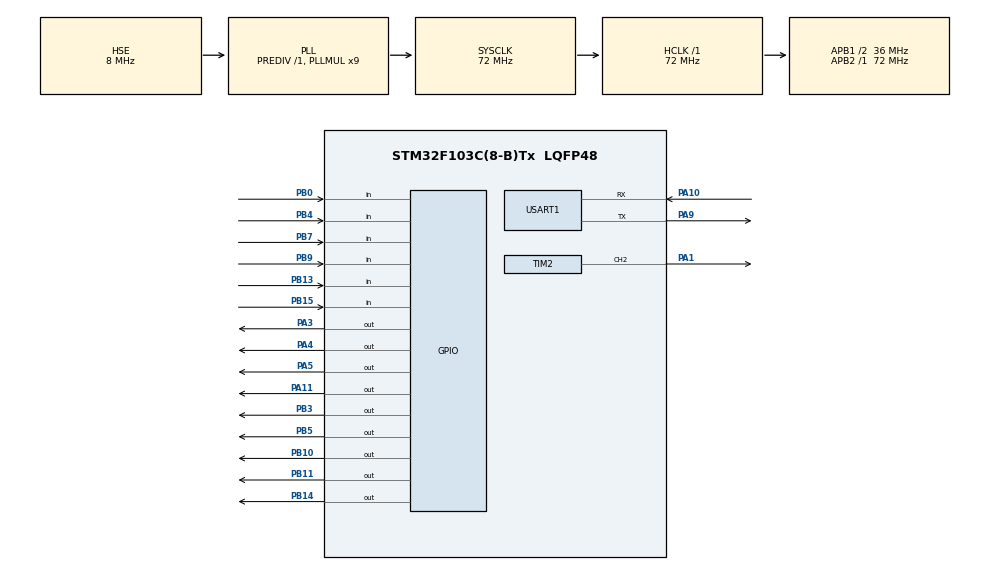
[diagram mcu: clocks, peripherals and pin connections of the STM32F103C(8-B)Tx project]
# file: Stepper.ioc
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Mcu.Family=STM32F1
Mcu.Name=STM32F103C(8-B)Tx
Mcu.Package=LQFP48
NVIC.PriorityGroup=NVIC_PRIORITYGROUP_4
PA1.Signal=S_TIM2_CH2
PA10.Mode=Asynchronous
PA10.Signal=USART1_RX
PA11.Signal=GPIO_Output
PA13.Mode=Serial_Wire
PA13.Signal=SYS_JTMS-SWDIO
PA14.Mode=Serial_Wire
PA14.Signal=SYS_JTCK-SWCLK
PA3.Signal=GPIO_Output
PA4.Signal=GPIO_Output
PA5.Signal=GPIO_Output
PA9.Mode=Asynchronous
PA9.Signal=USART1_TX
PB0.GPIO_PuPd=GPIO_PULLDOWN
PB0.Signal=GPIO_Input
PB10.PinState=GPIO_PIN_RESET
PB10.Signal=GPIO_Output
PB11.Signal=GPIO_Output
PB13.Signal=GPIO_Input
PB14.Signal=GPIO_Output
PB15.Signal=GPIO_Input
PB3.Signal=GPIO_Output
PB4.Signal=GPIO_Input
PB5.Signal=GPIO_Output
PB7.Signal=GPIO_Input
PB9.Signal=GPIO_Input
PD0-OSC_IN.Mode=HSE-External-Oscillator
PD0-OSC_IN.Signal=RCC_OSC_IN
PD1-OSC_OUT.Mode=HSE-External-Oscillator
PD1-OSC_OUT.Signal=RCC_OSC_OUT
ProjectManager.HeapSize=0x200
ProjectManager.StackSize=0x400
ProjectManager.TargetToolchain=MDK-ARM V5.32
RCC.AHBFreq_Value=72000000
RCC.APB1CLKDivider=RCC_HCLK_DIV2
RCC.APB1Freq_Value=36000000
RCC.APB1TimFreq_Value=72000000
RCC.APB2Freq_Value=72000000
RCC.APB2TimFreq_Value=72000000
RCC.HCLKFreq_Value=72000000
RCC.PLLMUL=RCC_PLL_MUL9
RCC.PLLSourceVirtual=RCC_PLLSOURCE_HSE
RCC.SYSCLKFreq_VALUE=72000000
RCC.SYSCLKSource=RCC_SYSCLKSOURCE_PLLCLK
RCC.USBFreq_Value=72000000
SH.S_TIM2_CH2.0=TIM2_CH2,PWM Generation2 CH2
TIM1.Period=65535
TIM1.Prescaler=71
TIM2.Channel-PWM\ Generation2\ CH2=TIM_CHANNEL_2
TIM2.Period=19999
TIM2.Prescaler=71
USART1.VirtualMode=VM_ASYNC
VP_TIM1_VS_ClockSourceINT.Mode=Internal
VP_TIM2_VS_ClockSourceINT.Mode=Internal
board=custom

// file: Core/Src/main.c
/* USER CODE BEGIN Header */
/**
  ******************************************************************************
  * @file           : main.c
  * @brief          : Main program body
  ******************************************************************************
  * @attention
  *
  * Copyright (c) 2022 STMicroelectronics.
  * All rights reserved.
  *
  * This software is licensed under terms that can be found in the LICENSE file
  * in the root directory of this software component.
  * If no LICENSE file comes with this software, it is provided AS-IS.
  *
  ******************************************************************************
  */
/* USER CODE END Header */
#include "main.h"

/* USER CODE BEGIN PTD */
/* Private define ------------------------------------------------------------*/
#define DIR_PIN GPIO_PIN_3
#define DIR_PORT GPIOA
#define STEP_PIN GPIO_PIN_4
#define STEP_PORT GPIOA
#define ENABLED_PIN GPIO_PIN_5
#define ENABLED_PORT GPIOA

#define SERVO_PIN GPIO_PIN_1
#define SERVO_PORT GPIOA

#define TX_PIN GPIO_PIN_9
#define TX_PORT GPIOA
#define RX_PIN GPIO_PIN_10
#define RX_PORT GPIOA

#define RELAY_PIN GPIO_PIN_11
#define RELAY_PORT GPIOB

#define IR_PIN GPIO_PIN_9
#define IR_PORT GPIOB

#define SWITCH_PIN GPIO_PIN_0
#define SWITCH_PORT GPIOB

#define TRIG_PIN_1 GPIO_PIN_5
#define TRIG_PORT_1 GPIOB
#define ECHO_PIN_1 GPIO_PIN_7
#define ECHO_PORT_1 GPIOB

#define TRIG_PIN_2 GPIO_PIN_3
#define TRIG_PORT_2 GPIOB
#define ECHO_PIN_2 GPIO_PIN_4
#define ECHO_PORT_2 GPIOB

#define TRIG_PIN_3 GPIO_PIN_14
#define TRIG_PORT_3 GPIOB
#define ECHO_PIN_3 GPIO_PIN_15
#define ECHO_PORT_3 GPIOB

#define TRIG_PIN_4 GPIO_PIN_11
#define TRIG_PORT_4 GPIOA
#define ECHO_PIN_4 GPIO_PIN_13
#define ECHO_PORT_4 GPIOB

/* Private variables ---------------------------------------------------------*/
uint32_t pMillis;
uint32_t Value1 = 0;
uint64_t Value2 = 0;
uint64_t Value3 = 0;
uint16_t Distance1 = 0;
uint16_t Distance2 = 0;
uint16_t Distance3 = 0;
uint8_t d = 0;
uint8_t Rx_data[10];
uint8_t rx_data;
uint8_t tx_data_1[3]="1\r\n";
uint8_t tx_data_2[3]="2\r\n";
uint8_t tx_data_3[3]="3\r\n";
/* USER CODE END PTD */

/* USER CODE BEGIN PV */
TIM_HandleTypeDef htim1;
TIM_HandleTypeDef htim2;

UART_HandleTypeDef huart1;
/* USER CODE END PV */

void SystemClock_Config(void);
static void MX_GPIO_Init(void);
static void MX_TIM1_Init(void);
static void MX_TIM2_Init(void);
static void MX_USART1_UART_Init(void);
/* USER CODE BEGIN PFP */
int stepDelay = 1000; // 1000us more delay means less speed
int32_t ctht = 0;

void microDelay (uint16_t delay)
{
  __HAL_TIM_SET_COUNTER(&htim1, 0);
  while (__HAL_TIM_GET_COUNTER(&htim1) < delay);
}

uint16_t distance(GPIO_TypeDef *trig_port, uint16_t GPIO_Pin_trig, GPIO_TypeDef *echo_port, uint16_t GPIO_Pin_echo)
{
	uint16_t Distance = 0;
	uint32_t Value1 = 0;
	uint64_t Value2 = 0;
	HAL_GPIO_WritePin(trig_port, GPIO_Pin_trig, GPIO_PIN_SET);  // pull the TRIG pin HIGH
	__HAL_TIM_SET_COUNTER(&htim1, 0);
	while (__HAL_TIM_GET_COUNTER (&htim1) < 10); // wait for 10 us
	HAL_GPIO_WritePin(trig_port, GPIO_Pin_trig, GPIO_PIN_RESET);  // pull the TRIG pin low
	pMillis = HAL_GetTick(); // used this to avoid infinite while loop  (for timeout)
	// wait for the echo pin to go high
	while(!(HAL_GPIO_ReadPin(echo_port, GPIO_Pin_echo)) && pMillis+100>HAL_GetTick());
	Value1 = __HAL_TIM_GET_COUNTER(&htim1);
	//HAL_Delay(2);
	pMillis = HAL_GetTick(); // used this to avoid infinite while loop (for timeout)
	// wait for the echo pin to go low
	while((HAL_GPIO_ReadPin(echo_port, GPIO_Pin_echo)) && pMillis+500>HAL_GetTick());
	Value2 = __HAL_TIM_GET_COUNTER(&htim1);
	Distance = (Value2-Value1)* 0.034/2;
	return Distance;
}
void to_camera(){
	HAL_GPIO_WritePin(ENABLED_PORT, ENABLED_PIN, GPIO_PIN_RESET);
	HAL_GPIO_WritePin(DIR_PORT, DIR_PIN, GPIO_PIN_RESET);//Clock wise rotation
	for(int i=1;i<=2000;i++){  //Moving stepper motor forward
		HAL_GPIO_WritePin(STEP_PORT, STEP_PIN, GPIO_PIN_SET);
		microDelay(1000);
		HAL_GPIO_WritePin(STEP_PORT, STEP_PIN, GPIO_PIN_RESET);
		microDelay(1000);
		if(!(HAL_GPIO_ReadPin(IR_PORT, IR_PIN))){
			HAL_GPIO_WritePin(ENABLED_PORT, ENABLED_PIN, GPIO_PIN_SET);
			break;
		}
	}
	HAL_GPIO_WritePin(ENABLED_PORT, ENABLED_PIN, GPIO_PIN_SET);
}
void move(char position, uint8_t dir)
{
	uint16_t pulse = 0;
	HAL_GPIO_WritePin(ENABLED_PORT, ENABLED_PIN, GPIO_PIN_RESET);
	if(dir == 1){
		if(position == '1'){
			pulse = 1620;
			HAL_GPIO_WritePin(DIR_PORT, DIR_PIN, GPIO_PIN_SET);
		}
		else if(position == '2'){
			pulse = 400;
			HAL_GPIO_WritePin(DIR_PORT, DIR_PIN, GPIO_PIN_SET);
		}
		else if(position == '3'){
			pulse = 820;
			HAL_GPIO_WritePin(DIR_PORT, DIR_PIN, GPIO_PIN_RESET);
		}
	}
	else if(dir == 0){
		if(position == '1'){
			pulse = 650;
			HAL_GPIO_WritePin(DIR_PORT, DIR_PIN, GPIO_PIN_RESET);
		}
		else if(position == '2'){
			pulse = 600;
			HAL_GPIO_WritePin(DIR_PORT, DIR_PIN, GPIO_PIN_SET);
		}
		else if(position == '3'){
			pulse = 1770;
			HAL_GPIO_WritePin(DIR_PORT, DIR_PIN, GPIO_PIN_SET);
		}
	}
	for(int i=1;i<=pulse;i++){  //Moving stepper motor forward
		HAL_GPIO_WritePin(STEP_PORT, STEP_PIN, GPIO_PIN_SET);
		microDelay(1000);
		HAL_GPIO_WritePin(STEP_PORT, STEP_PIN, GPIO_PIN_RESET);
		microDelay(1000);
	}
	HAL_GPIO_WritePin(ENABLED_PORT, ENABLED_PIN, GPIO_PIN_SET);

}

int main(void)
{
  /* Configure the system clock */
  SystemClock_Config();

  /* USER CODE BEGIN SysInit */
  HAL_Init();
  /* USER CODE END SysInit */

  /* Initialize all configured peripherals */
  MX_GPIO_Init();
  MX_TIM1_Init();
  MX_TIM2_Init();
  MX_USART1_UART_Init();
  /* USER CODE BEGIN 2 */
	HAL_TIM_PWM_Start(&htim2,TIM_CHANNEL_2);
	HAL_TIM_Base_Start(&htim1);
  /* USER CODE END 2 */

  /* Infinite loop */
  /* USER CODE BEGIN WHILE */
  while (1)
  {
		HAL_GPIO_WritePin(ENABLED_PORT, ENABLED_PIN, GPIO_PIN_SET);
		if(HAL_GPIO_ReadPin(SWITCH_PORT, SWITCH_PIN)){
			while (1){
				Distance1 = distance(TRIG_PORT_4, TRIG_PIN_4, ECHO_PORT_4, ECHO_PIN_4);
				if(Distance1 < 25){
					HAL_UART_Transmit(&huart1,tx_data_1, sizeof(tx_data_1), 100);
					to_camera();

					HAL_UART_Transmit(&huart1,tx_data_2, sizeof(tx_data_2), 100);
					HAL_UART_Receive (&huart1, Rx_data, 3, 5000);
					while (Rx_data[0] != '2' && Rx_data[0] != '1' && Rx_data[0] != '3'){
						ctht++;
						//HAL_UART_Transmit(&huart1,tx_data, sizeof(tx_data), 100);
						HAL_UART_Receive (&huart1, Rx_data, 3, 5000);
					}
					d = 1;
					move(Rx_data[0], d);

					htim2.Instance->CCR2 = 350;
					HAL_Delay(1000);
					htim2.Instance->CCR2 = 2600;
					HAL_Delay(1000);

					d = 0;
					move(Rx_data[0], d);

					HAL_UART_Transmit(&huart1,tx_data_3, sizeof(tx_data_3), 100);
					break;
				}
			}
		}
  }
  /* USER CODE END WHILE */
}

void SystemClock_Config(void)
{
  RCC_OscInitTypeDef RCC_OscInitStruct = {0};
  RCC_ClkInitTypeDef RCC_ClkInitStruct = {0};

  /** Initializes the RCC Oscillators according to the specified parameters
  * in the RCC_OscInitTypeDef structure.
  */
  RCC_OscInitStruct.OscillatorType = RCC_OSCILLATORTYPE_HSE;
  RCC_OscInitStruct.HSEState = RCC_HSE_ON;
  RCC_OscInitStruct.HSEPredivValue = RCC_HSE_PREDIV_DIV1;
  RCC_OscInitStruct.HSIState = RCC_HSI_ON;
  RCC_OscInitStruct.PLL.PLLState = RCC_PLL_ON;
  RCC_OscInitStruct.PLL.PLLSource = RCC_PLLSOURCE_HSE;
  RCC_OscInitStruct.PLL.PLLMUL = RCC_PLL_MUL9;
  if (HAL_RCC_OscConfig(&RCC_OscInitStruct) != HAL_OK)
  {
    Error_Handler();
  }

  /** Initializes the CPU, AHB and APB buses clocks
  */
  RCC_ClkInitStruct.ClockType = RCC_CLOCKTYPE_HCLK|RCC_CLOCKTYPE_SYSCLK
                              |RCC_CLOCKTYPE_PCLK1|RCC_CLOCKTYPE_PCLK2;
  RCC_ClkInitStruct.SYSCLKSource = RCC_SYSCLKSOURCE_PLLCLK;
  RCC_ClkInitStruct.AHBCLKDivider = RCC_SYSCLK_DIV1;
  RCC_ClkInitStruct.APB1CLKDivider = RCC_HCLK_DIV2;
  RCC_ClkInitStruct.APB2CLKDivider = RCC_HCLK_DIV1;

  if (HAL_RCC_ClockConfig(&RCC_ClkInitStruct, FLASH_LATENCY_2) != HAL_OK)
  {
    Error_Handler();
  }
}

static void MX_TIM1_Init(void)
{

  /* USER CODE BEGIN TIM1_Init 0 */
  TIM_ClockConfigTypeDef sClockSourceConfig = {0};
  TIM_MasterConfigTypeDef sMasterConfig = {0};
  /* USER CODE END TIM1_Init 0 */

  /* USER CODE BEGIN TIM1_Init 1 */
  htim1.Instance = TIM1;
  htim1.Init.Prescaler = 71;
  htim1.Init.CounterMode = TIM_COUNTERMODE_UP;
  htim1.Init.Period = 65535;
  htim1.Init.ClockDivision = TIM_CLOCKDIVISION_DIV1;
  htim1.Init.RepetitionCounter = 0;
  htim1.Init.AutoReloadPreload = TIM_AUTORELOAD_PRELOAD_DISABLE;
  if (HAL_TIM_Base_Init(&htim1) != HAL_OK)
  {
    Error_Handler();
  }
  sClockSourceConfig.ClockSource = TIM_CLOCKSOURCE_INTERNAL;
  if (HAL_TIM_ConfigClockSource(&htim1, &sClockSourceConfig) != HAL_OK)
  {
    Error_Handler();
  }
  sMasterConfig.MasterOutputTrigger = TIM_TRGO_RESET;
  sMasterConfig.MasterSlaveMode = TIM_MASTERSLAVEMODE_DISABLE;
  if (HAL_TIMEx_MasterConfigSynchronization(&htim1, &sMasterConfig) != HAL_OK)
  {
    Error_Handler();
  }
  /* USER CODE END TIM1_Init 1 */
}

static void MX_TIM2_Init(void)
{

  /* USER CODE BEGIN TIM2_Init 0 */
  TIM_ClockConfigTypeDef sClockSourceConfig = {0};
  TIM_MasterConfigTypeDef sMasterConfig = {0};
  TIM_OC_InitTypeDef sConfigOC = {0};
  /* USER CODE END TIM2_Init 0 */

  /* USER CODE BEGIN TIM2_Init 1 */
  htim2.Instance = TIM2;
  htim2.Init.Prescaler = 71;
  htim2.Init.CounterMode = TIM_COUNTERMODE_UP;
  htim2.Init.Period = 19999;
  htim2.Init.ClockDivision = TIM_CLOCKDIVISION_DIV1;
  htim2.Init.AutoReloadPreload = TIM_AUTORELOAD_PRELOAD_DISABLE;
  if (HAL_TIM_Base_Init(&htim2) != HAL_OK)
  {
    Error_Handler();
  }
  sClockSourceConfig.ClockSource = TIM_CLOCKSOURCE_INTERNAL;
  if (HAL_TIM_ConfigClockSource(&htim2, &sClockSourceConfig) != HAL_OK)
  {
    Error_Handler();
  }
  if (HAL_TIM_PWM_Init(&htim2) != HAL_OK)
  {
    Error_Handler();
  }
  sMasterConfig.MasterOutputTrigger = TIM_TRGO_RESET;
  sMasterConfig.MasterSlaveMode = TIM_MASTERSLAVEMODE_DISABLE;
  if (HAL_TIMEx_MasterConfigSynchronization(&htim2, &sMasterConfig) != HAL_OK)
  {
    Error_Handler();
  }
  sConfigOC.OCMode = TIM_OCMODE_PWM1;
  sConfigOC.Pulse = 0;
  sConfigOC.OCPolarity = TIM_OCPOLARITY_HIGH;
  sConfigOC.OCFastMode = TIM_OCFAST_DISABLE;
  if (HAL_TIM_PWM_ConfigChannel(&htim2, &sConfigOC, TIM_CHANNEL_2) != HAL_OK)
  {
    Error_Handler();
  }
  /* USER CODE END TIM2_Init 1 */

  /* USER CODE BEGIN TIM2_Init 2 */
  HAL_TIM_MspPostInit(&htim2);
  /* USER CODE END TIM2_Init 2 */

}

static void MX_USART1_UART_Init(void)
{

  /* USER CODE BEGIN USART1_Init 0 */
  huart1.Instance = USART1;
  huart1.Init.BaudRate = 115200;
  huart1.Init.WordLength = UART_WORDLENGTH_8B;
  huart1.Init.StopBits = UART_STOPBITS_1;
  huart1.Init.Parity = UART_PARITY_NONE;
  huart1.Init.Mode = UART_MODE_TX_RX;
  huart1.Init.HwFlowCtl = UART_HWCONTROL_NONE;
  huart1.Init.OverSampling = UART_OVERSAMPLING_16;
  if (HAL_UART_Init(&huart1) != HAL_OK)
  {
    Error_Handler();
  }
  /* USER CODE END USART1_Init 0 */
}

static void MX_GPIO_Init(void)
{
  GPIO_InitTypeDef GPIO_InitStruct = {0};

  /* GPIO Ports Clock Enable */
  __HAL_RCC_GPIOD_CLK_ENABLE();
  __HAL_RCC_GPIOA_CLK_ENABLE();
  __HAL_RCC_GPIOB_CLK_ENABLE();

  /*Configure GPIO pin Output Level */
  HAL_GPIO_WritePin(GPIOA, GPIO_PIN_3|GPIO_PIN_4|GPIO_PIN_5|GPIO_PIN_11, GPIO_PIN_RESET);

  /*Configure GPIO pin Output Level */
  HAL_GPIO_WritePin(GPIOB, GPIO_PIN_10|GPIO_PIN_11|GPIO_PIN_14|GPIO_PIN_3
                          |GPIO_PIN_5, GPIO_PIN_RESET);

  /*Configure GPIO pins : PA3 PA4 PA5 PA11 */
  GPIO_InitStruct.Pin = GPIO_PIN_3|GPIO_PIN_4|GPIO_PIN_5|GPIO_PIN_11;
  GPIO_InitStruct.Mode = GPIO_MODE_OUTPUT_PP;
  GPIO_InitStruct.Pull = GPIO_NOPULL;
  GPIO_InitStruct.Speed = GPIO_SPEED_FREQ_LOW;
  HAL_GPIO_Init(GPIOA, &GPIO_InitStruct);

  /*Configure GPIO pin : PB0 */
  GPIO_InitStruct.Pin = GPIO_PIN_0;
  GPIO_InitStruct.Mode = GPIO_MODE_INPUT;
  GPIO_InitStruct.Pull = GPIO_PULLDOWN;
  HAL_GPIO_Init(GPIOB, &GPIO_InitStruct);

  /*Configure GPIO pins : PB10 PB11 PB14 PB3
                           PB5 */
  GPIO_InitStruct.Pin = GPIO_PIN_10|GPIO_PIN_11|GPIO_PIN_14|GPIO_PIN_3
                          |GPIO_PIN_5;
  GPIO_InitStruct.Mode = GPIO_MODE_OUTPUT_PP;
  GPIO_InitStruct.Pull = GPIO_NOPULL;
  GPIO_InitStruct.Speed = GPIO_SPEED_FREQ_LOW;
  HAL_GPIO_Init(GPIOB, &GPIO_InitStruct);

  /*Configure GPIO pins : PB13 PB15 PB4 PB7
                           PB9 */
  GPIO_InitStruct.Pin = GPIO_PIN_13|GPIO_PIN_15|GPIO_PIN_4|GPIO_PIN_7
                          |GPIO_PIN_9;
  GPIO_InitStruct.Mode = GPIO_MODE_INPUT;
  GPIO_InitStruct.Pull = GPIO_NOPULL;
  HAL_GPIO_Init(GPIOB, &GPIO_InitStruct);
}

void Error_Handler(void)
{
  __disable_irq();
  while (1)
  {
  }
}
